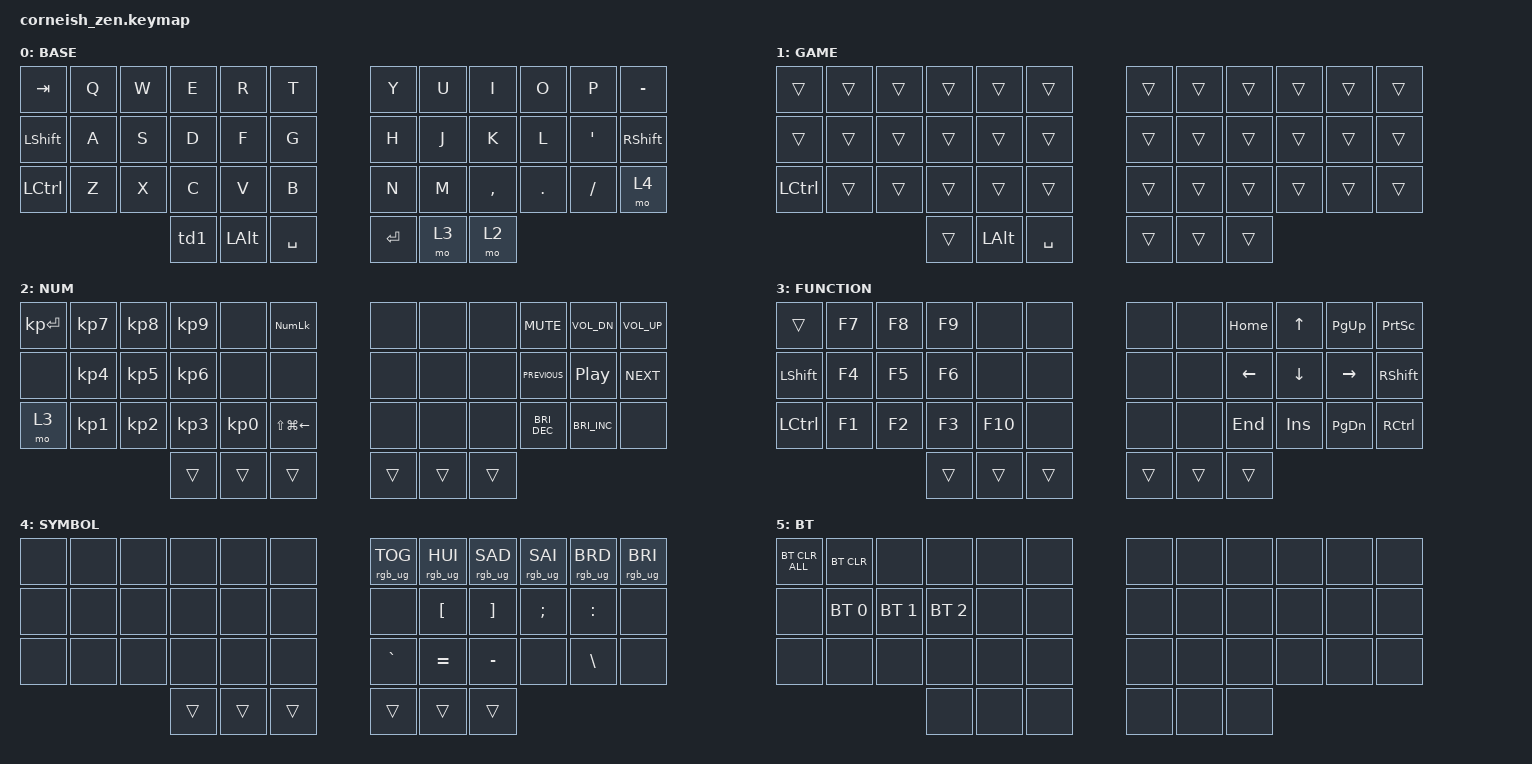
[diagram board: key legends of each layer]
/*
 * Copyright (c) 2020 The ZMK Contributors
 *
 * SPDX-License-Identifier: MIT
 */

#include <behaviors.dtsi>
#include <dt-bindings/zmk/bt.h>
#include <dt-bindings/zmk/keys.h>
#include <dt-bindings/zmk/outputs.h>
#include <dt-bindings/zmk/rgb.h>

/ {
    chosen {
        zmk,matrix_transform = &default_transform;

        // zmk,matrix_transform = &five_column_transform;
    };
};

/ {
    behaviors {
        td0: td0 {
            compatible = "zmk,behavior-tap-dance";
            label = "TD0";
            #binding-cells = <0>;
            bindings = <&kp LEFT_SHIFT>, <&kp CAPSLOCK>;
        };

        td1: td1 {
            compatible = "zmk,behavior-tap-dance";
            label = "TD1";
            #binding-cells = <0>;
            bindings = <&mo 2>, <&kp LEFT_GUI>;
        };
    };

    combos {
        compatible = "zmk,combos";

        bksp {
            bindings = <&kp BACKSPACE>;
            key-positions = <20 21>;
            layers = <0 2 4 1>;
        };

        bi_h_00 {
            bindings = <&kp ESCAPE>;
            key-positions = <1 0>;
            layers = <0 4 5 2 1>;
        };

        bi_h_01 {
            bindings = <&kp DELETE>;
            key-positions = <2 1>;
            layers = <0 3 3 4 5>;
        };

        bi_h_02 {
            bindings = <&kp F11>;
            key-positions = <2 3>;
            layers = <0 3 3 4 5>;
        };

        bi_h_03 {
            bindings = <&kp F12>;
            key-positions = <3 4>;
            layers = <0 3 3 4 5>;
        };

        bi_h_04 {
            bindings = <&kp SCROLLLOCK>;
            key-positions = <5 4>;
            layers = <0 4 5 2 1>;
        };

        bi_m_01 {
            bindings = <&kp NUMBER_1>;
            key-positions = <13 14>;
            layers = <0 3 3 4 5>;
        };

        bi_m_02 {
            bindings = <&kp NUMBER_2>;
            key-positions = <14 15>;
            layers = <0 3 3 4 5>;
        };

        bi_m_03 {
            bindings = <&kp KP_PLUS>;
            key-positions = <15 16>;
            layers = <0 3 3 4 5>;
        };

        bi_m_04 {
            bindings = <&kp PAUSE_BREAK>;
            key-positions = <16 17>;
            layers = <0 4 5 2 1>;
        };

        bi_l_01 {
            bindings = <&kp NUMBER_4>;
            key-positions = <25 26>;
            layers = <0 3 3 4 5>;
        };

        bi_l_02 {
            bindings = <&kp NUMBER_3>;
            key-positions = <26 27>;
            layers = <0 3 3 4 5>;
        };

        bi_l_03 {
            bindings = <&kp KP_MINUS>;
            key-positions = <27 28>;
            layers = <0 3 3 4 5>;
        };

        bi_l_04 {
            bindings = <&kp LC(LS(NUMBER_4))>;
            key-positions = <28 29>;
            layers = <0 4 5 2 1>;
        };

        ag_h_01 {
            bindings = <&kp O>;
            key-positions = <13 2>;
            layers = <0 3 3 4 5>;
        };

        ag_h_02 {
            bindings = <&kp P>;
            key-positions = <14 3>;
            layers = <0 3 3 4 5>;
        };

        ag_h_03 {
            bindings = <&none>;
            key-positions = <15 4>;
            layers = <0 3 3 4 5>;
        };

        ag_h_04 {
            bindings = <&none>;
            key-positions = <5 16>;
            layers = <0 3 3 4 5>;
        };

        ag_l_01 {
            bindings = <&kp N9>;
            key-positions = <14 25>;
            layers = <0 3 3 4 5>;
        };

        ag_l_02 {
            bindings = <&kp N7>;
            key-positions = <26 15>;
            layers = <0 3 3 4 5>;
        };

        ag_l_03 {
            bindings = <&kp KP_DIVIDE>;
            key-positions = <16 27>;
            layers = <0 3 3 4 5>;
        };

        ag_l_04 {
            bindings = <&none>;
            key-positions = <17 28>;
            layers = <0 3 3 4 5>;
        };

        gr_h_00 {
            bindings = <&kp CAPSLOCK>;
            key-positions = <0 13>;
            layers = <0 3 3 4 5>;
        };

        gr_h_01 {
            bindings = <&kp Y>;
            key-positions = <1 14>;
            layers = <0 3 3 4 5>;
        };

        gr_h_02 {
            bindings = <&kp I>;
            key-positions = <2 15>;
            layers = <0 3 3 4 5>;
        };

        gr_h_03 {
            bindings = <&kp H>;
            key-positions = <3 16>;
            layers = <0 3 3 4 5>;
        };

        gr_h_04 {
            bindings = <&out OUT_TOG>;
            key-positions = <4 17>;
            layers = <0 3 3 4 5>;
        };

        gr_l_01 {
            bindings = <&kp N8>;
            key-positions = <13 26>;
            layers = <0 3 3 4 5>;
        };

        gr_l_02 {
            bindings = <&kp N0>;
            key-positions = <14 27>;
            layers = <0 3 3 4 5>;
        };

        gr_l_03 {
            bindings = <&kp L>;
            key-positions = <15 28>;
            layers = <0 3 3 4 5>;
        };

        gr_l_04 {
            bindings = <&sl 5>;
            key-positions = <16 29>;
            layers = <0 3 3 4 5>;
        };

        cr_h_01 {
            bindings = <&kp U>;
            key-positions = <13 2 15>;
            layers = <0 3 3 4 5>;
        };

        cr_h_02 {
            bindings = <&kp LG(A)>;
            key-positions = <14 3 16>;
            layers = <0 3 3 4 5>;
        };

        cr_h_03 {
            bindings = <&none>;
            key-positions = <17 4 15>;
            layers = <0 3 3 4 5>;
        };

        cr_l_01 {
            bindings = <&sl 0>;
            key-positions = <27 14 25>;
            layers = <0 3 3 4 5>;
        };

        cr_l_03 {
            bindings = <&none>;
            key-positions = <26 15 28>;
            layers = <0 3 3 4 5>;
        };

        cr_l_04 {
            bindings = <&none>;
            key-positions = <29 16 27>;
            layers = <0 3 3 4 5>;
        };

        tri_h_00 {
            bindings = <&none>;
            key-positions = <0 1 2>;
            layers = <0 3 3 4 5>;
        };

        tri_h_01 {
            bindings = <&kp K>;
            key-positions = <1 2 3>;
            layers = <0 3 3 4 5>;
        };

        tri_h_02 {
            bindings = <&kp J>;
            key-positions = <2 3 4>;
            layers = <0 3 3 4 5>;
        };

        tri_h_03 {
            bindings = <&kp LG(C)>;
            key-positions = <4 5 3>;
            layers = <0 3 3 4 5>;
        };

        tri_m_01 {
            bindings = <&kp N>;
            key-positions = <13 14 15>;
            layers = <0 3 3 4 5>;
        };

        tri_m_02 {
            bindings = <&kp M>;
            key-positions = <14 15 16>;
            layers = <0 3 3 4 5>;
        };

        tri_m_03 {
            bindings = <&none>;
            key-positions = <15 16 17>;
            layers = <0 3 3 4 5>;
        };

        tri_l_01 {
            bindings = <&kp COMMA>;
            key-positions = <25 26 27>;
            layers = <0 3 3 4 5>;
        };

        tri_l_02 {
            bindings = <&kp PERIOD>;
            key-positions = <26 27 28>;
            layers = <0 3 3 4 5>;
        };

        tri_l_03 {
            bindings = <&none>;
            key-positions = <27 28 29>;
            layers = <0 3 3 4 5>;
        };

        g_bi_h_00 {
            bindings = <&none>;
            key-positions = <0 2>;
            layers = <0 3 3 4 5>;
        };

        g_bi_h_01 {
            bindings = <&none>;
            key-positions = <3 1>;
            layers = <0 3 3 4 5>;
        };

        g_bi_h_03 {
            bindings = <&none>;
            key-positions = <4 2>;
            layers = <0 3 3 4 5>;
        };

        g_bi_h_04 {
            bindings = <&none>;
            key-positions = <5 3>;
            layers = <0 3 3 4 5>;
        };

        g_bi_m_01 {
            bindings = <&kp N5>;
            key-positions = <13 15>;
            layers = <0 3 3 4 5>;
        };

        g_bi_m_02 {
            bindings = <&kp KP_MULTIPLY>;
            key-positions = <16 14>;
            layers = <0 3 3 4 5>;
        };

        g_bi_m_03 {
            bindings = <&none>;
            key-positions = <17 15>;
            layers = <0 3 3 4 5>;
        };

        g_bi_l_01 {
            bindings = <&kp NUMBER_6>;
            key-positions = <25 27>;
            layers = <0 3 3 4 5>;
        };

        g_bi_l_02 {
            bindings = <&kp KP_DOT>;
            key-positions = <28 26>;
            layers = <0 3 3 4 5>;
        };

        g_bi_l_03 {
            bindings = <&none>;
            key-positions = <29 27>;
            layers = <0 3 3 4 5>;
        };

        qua_ag_l_01 {
            bindings = <&kp LG(UP_ARROW)>;
            key-positions = <15 25 26 16>;
            layers = <0 3 3 4 5>;
        };

        arc_ag_l_01 {
            bindings = <&kp LG(LEFT_ARROW)>;
            key-positions = <26 15 25>;
            layers = <0 3 3 4 5>;
        };

        spike_l_01 {
            bindings = <&kp LG(RIGHT)>;
            key-positions = <26 15 25 28>;
            layers = <0 3 3 4 5>;
        };

        arc_gr_inv_l_01 {
            bindings = <&kp MINUS>;
            key-positions = <13 14 27>;
            layers = <0 3 3 4 5>;
        };

        arc_gr_inv_l_02 {
            bindings = <&kp SEMICOLON>;
            key-positions = <15 14 28>;
            layers = <0 3 3 4 5>;
        };

        mod_ctrl_shift {
            bindings = <&kp LS(LCTRL)>;
            key-positions = <29 38>;
            layers = <0 3 3 4 5>;
        };

        mod_ctrl_shift_alt {
            bindings = <&kp LS(LA(LCTRL))>;
            key-positions = <29 37>;
            layers = <0 3 3 4 5>;
        };

        togglegaming {
            bindings = <&tog 1>;
            key-positions = <17 4 3>;
        };

        arc_gr_inv_h_01 {
            bindings = <&kp SLASH>;
            key-positions = <1 2 15>;
            layers = <0 3 3 4 5>;
        };
    };

    keymap {
        compatible = "zmk,keymap";

        base {
            display-name = "BASE";
            bindings = <
&kp TAB         &kp Q  &kp W  &kp E  &kp R         &kp T        &kp Y      &kp U  &kp I      &kp O    &kp P      &kp MINUS
&kp LEFT_SHIFT  &kp A  &kp S  &kp D  &kp F         &kp G        &kp H      &kp J  &kp K      &kp L    &kp APOS   &kp RSHFT
&kp LCTRL       &kp Z  &kp X  &kp C  &kp V         &kp B        &kp N      &kp M  &kp COMMA  &kp DOT  &kp SLASH  &mo 4
                              &td1   &kp LEFT_ALT  &kp SPACE    &kp ENTER  &mo 3  &mo 2
            >;
        };

        gaming {
            bindings = <
&trans     &trans  &trans  &trans  &trans        &trans       &trans  &trans  &trans  &trans  &trans  &trans
&trans     &trans  &trans  &trans  &trans        &trans       &trans  &trans  &trans  &trans  &trans  &trans
&kp LCTRL  &trans  &trans  &trans  &trans        &trans       &trans  &trans  &trans  &trans  &trans  &trans
                           &trans  &kp LEFT_ALT  &kp SPACE    &trans  &trans  &trans
            >;

            label = "GAME";
        };

        KP_NUM_MEDIA {
            display-name = "NUM";
            bindings = <
&kp KP_ENTER  &kp KP_NUMBER_7  &kp KP_NUMBER_8  &kp KP_N9        &none      &kp KP_NUM          &none   &none   &none   &kp C_MUTE            &kp C_VOL_DN          &kp C_VOL_UP
&none         &kp KP_NUMBER_4  &kp KP_NUMBER_5  &kp KP_N6        &none      &none               &none   &none   &none   &kp C_PREVIOUS        &kp C_PLAY_PAUSE      &kp C_NEXT
&mo 3         &kp KP_NUMBER_1  &kp KP_NUMBER_2  &kp KP_NUMBER_3  &kp KP_N0  &kp LS(LG(LEFT))    &none   &none   &none   &kp C_BRIGHTNESS_DEC  &kp C_BRIGHTNESS_INC  &none
                                                &trans           &trans     &trans              &trans  &trans  &trans
            >;
        };

        FN_NAV {
            display-name = "FUNCTION";
            bindings = <
&trans          &kp F7  &kp F8  &kp F9  &none    &none     &none   &none   &kp HOME        &kp UP_ARROW    &kp PAGE_UP    &kp PRINTSCREEN
&kp LEFT_SHIFT  &kp F4  &kp F5  &kp F6  &none    &none     &none   &none   &kp LEFT_ARROW  &kp DOWN_ARROW  &kp RIGHT      &kp RIGHT_SHIFT
&kp LCTRL       &kp F1  &kp F2  &kp F3  &kp F10  &none     &none   &none   &kp END         &kp INSERT      &kp PAGE_DOWN  &kp RIGHT_CONTROL
                                &trans  &trans   &trans    &trans  &trans  &trans
            >;
        };

        SYM_RGB {
            bindings = <
&none  &none  &none  &none   &none   &none     &rgb_ug RGB_TOG  &rgb_ug RGB_HUI  &rgb_ug RGB_SAD  &rgb_ug RGB_SAI  &rgb_ug RGB_BRD  &rgb_ug RGB_BRI
&none  &none  &none  &none   &none   &none     &none            &kp LBKT         &kp RBKT         &kp SEMICOLON    &kp COLON        &none
&none  &none  &none  &none   &none   &none     &kp GRAVE        &kp EQUAL        &kp MINUS        &none            &kp BSLH         &none
                     &trans  &trans  &trans    &trans           &trans           &trans
            >;

            label = "SYMBOL";
        };

        S_BT {
            bindings = <
&bt BT_CLR_ALL  &bt BT_CLR    &none         &none         &none  &none    &none  &none  &none  &none  &none  &none
&none           &bt BT_SEL 0  &bt BT_SEL 1  &bt BT_SEL 2  &none  &none    &none  &none  &none  &none  &none  &none
&none           &none         &none         &none         &none  &none    &none  &none  &none  &none  &none  &none
                                            &none         &none  &none    &none  &none  &none
            >;

            label = "BT";
        };
    };

    conditional_layers { compatible = "zmk,conditional-layers"; };
};
